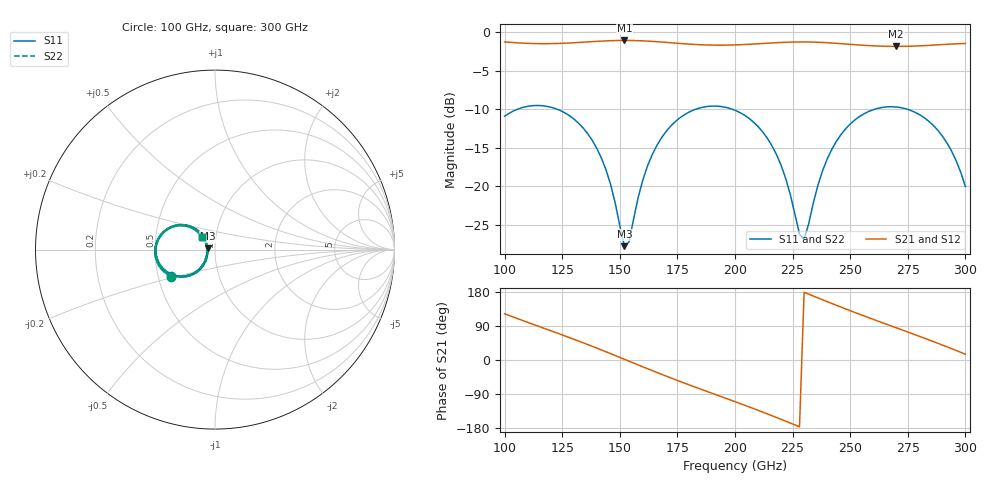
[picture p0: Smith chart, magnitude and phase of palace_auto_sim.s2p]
#  GHZ S DB R 50
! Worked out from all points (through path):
!   101 points, 100 GHz to 300 GHz, reference 50 ohm
!   highest |S21| = -1.05 dB at 152 GHz (marker M1); lowest = -1.8 dB at 270 GHz (marker M2)
!   group delay of S21, straight-line fit = 6.51 ps
!   lowest |S11| = -27.8 dB at 152 GHz (marker M3), VSWR 1.09, Z = 46.1 + j0.711 ohm
!   |S11| at or under -10 dB: 123 GHz to 182.8 GHz (59.79 GHz wide, 39.1 % of centre); 199 GHz to 260.4 GHz (61.33 GHz wide, 26.7 % of centre); 275 GHz to end of sweep (the widest 3 of 4)
!   |S22| runs from -27.7 to -9.5 dB; largest |S21 - S12| = 1e-13
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100  -10.88 -148.5  -1.24 122.0  -1.24 122.0  -10.88 -148.2
118  -9.58 175.5  -1.46 81.7  -1.46 81.7  -9.58 175.8
134  -12.38 144.6  -1.27 45.6  -1.27 45.6  -12.38 144.8
144  -17.83 130.5  -1.10 21.7  -1.10 21.7  -17.83 130.8
152  -27.75 169.2  -1.05 1.9  -1.05 1.9  -27.74 169.4
154  -27.19 -155.9  -1.05 -3.1  -1.05 -3.1  -27.18 -155.7
162  -17.36 -126.5  -1.13 -22.9  -1.13 -22.9  -17.36 -126.3
168  -13.73 -134.3  -1.25 -37.4  -1.25 -37.4  -13.73 -134.1
184  -9.87 -164.4  -1.59 -74.4  -1.59 -74.4  -9.87 -164.1
200  -10.11 164.6  -1.63 -109.9  -1.63 -109.9  -10.10 165.0
216  -14.70 136.4  -1.37 -146.9  -1.37 -146.9  -14.68 136.9
222  -18.95 132.1  -1.28 -161.4  -1.28 -161.4  -18.91 132.9
228  -26.18 160.2  -1.24 -176.3  -1.24 -176.3  -25.94 161.0
230  -26.88 -169.7  -1.24 178.8  -1.24 178.8  -26.61 -169.9
234  -22.14 -133.7  -1.26 168.8  -1.26 168.8  -22.05 -134.4
240  -16.45 -129.8  -1.34 154.1  -1.34 154.1  -16.42 -130.2
248  -12.52 -141.2  -1.50 134.9  -1.50 134.9  -12.52 -141.4
258  -10.27 -159.6  -1.71 111.8  -1.71 111.8  -10.26 -159.8
268  -9.65 -178.7  -1.82 89.4  -1.82 89.4  -9.65 -178.7
270  -9.68 177.6  -1.82 85.0  -1.82 85.0  -9.68 177.5
288  -12.69 144.8  -1.62 44.2  -1.62 44.2  -12.70 144.7
300  -20.00 136.5  -1.44 15.3  -1.44 15.3  -20.05 136.0
